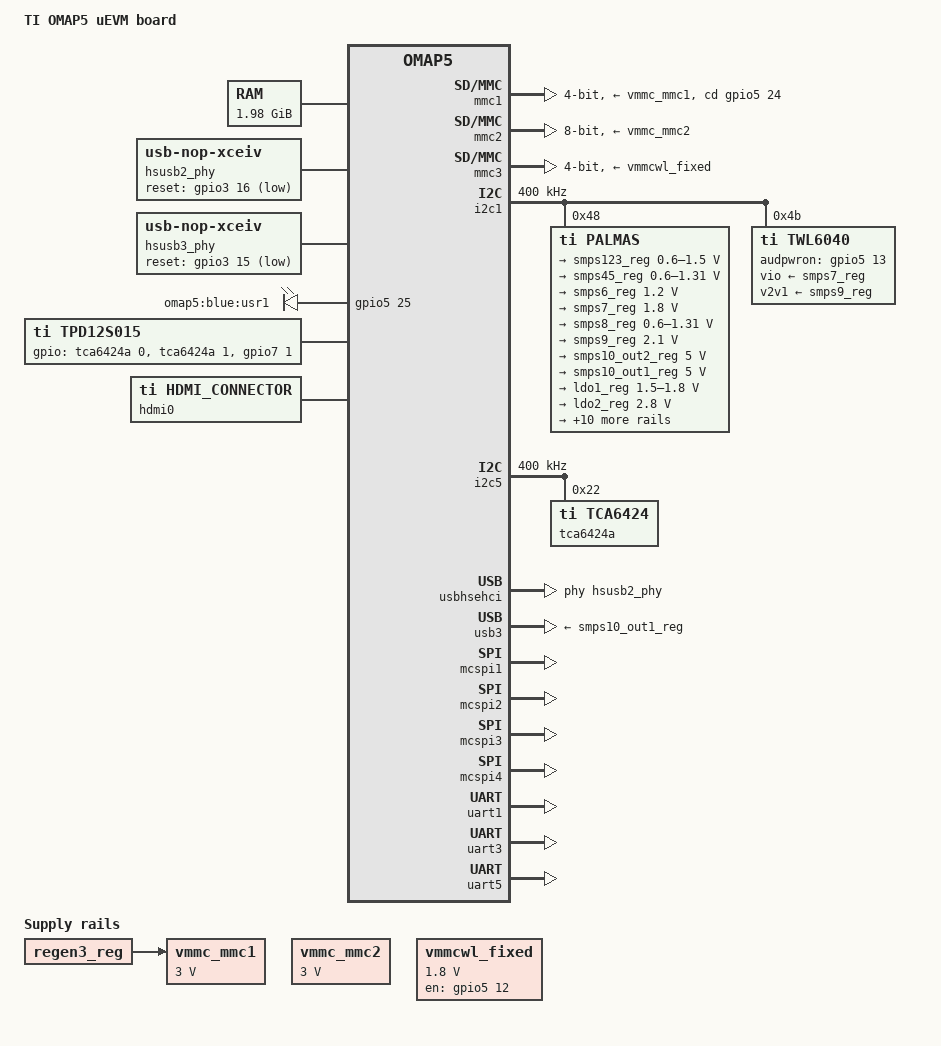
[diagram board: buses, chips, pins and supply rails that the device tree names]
/*
 * Copyright (C) 2013 Texas Instruments Incorporated - http://www.ti.com/
 *
 * This program is free software; you can redistribute it and/or modify
 * it under the terms of the GNU General Public License version 2 as
 * published by the Free Software Foundation.
 */
/dts-v1/;

#include "omap5.dtsi"
#include <dt-bindings/interrupt-controller/irq.h>
#include <dt-bindings/interrupt-controller/arm-gic.h>

/ {
	model = "TI OMAP5 uEVM board";
	compatible = "ti,omap5-uevm", "ti,omap5";

	memory {
		device_type = "memory";
		reg = <0x80000000 0x7F000000>; /* 2032 MB */
	};

	vmmc_mmc1: fixedregulator-mmc1 {
		compatible = "regulator-fixed";
		regulator-name = "vmmc_mmc1";
		regulator-min-microvolt = <3000000>;
		regulator-max-microvolt = <3000000>;
		vin-supply = <&regen3_reg>;
	};

	vmmc_mmc2: fixedregulator-mmc2{
		compatible = "regulator-fixed";
		regulator-name = "vmmc_mmc2";
		regulator-min-microvolt = <3000000>;
		regulator-max-microvolt = <3000000>;
	};

	vmmcwl_fixed: fixedregulator-mmcwl {
		compatible = "regulator-fixed";
		regulator-name = "vmmcwl_fixed";
		regulator-min-microvolt = <1800000>;
		regulator-max-microvolt = <1800000>;
		gpio = <&gpio5 12 0>;	/* gpio5_140 */
		startup-delay-us = <70000>;
		enable-active-high;
	};

	/* HS USB Host PHY on PORT 2 */
	hsusb2_phy: hsusb2_phy {
		compatible = "usb-nop-xceiv";
		reset-gpios = <&gpio3 16 GPIO_ACTIVE_LOW>; /* gpio3_80 HUB_NRESET */
		clocks = <&auxclk1_ck>;
		clock-names = "main_clk";
		clock-frequency = <19200000>;
	};

	/* HS USB Host PHY on PORT 3 */
	hsusb3_phy: hsusb3_phy {
		compatible = "usb-nop-xceiv";
		reset-gpios = <&gpio3 15 GPIO_ACTIVE_LOW>; /* gpio3_79 ETH_NRESET */
	};

	leds {
		compatible = "gpio-leds";
		led@1 {
			label = "omap5:blue:usr1";
			gpios = <&gpio5 25 GPIO_ACTIVE_HIGH>; /* gpio5_153 D1 LED */
			linux,default-trigger = "heartbeat";
			default-state = "off";
		};
	};

	sound: sound {
		compatible = "ti,abe-twl6040";
		ti,model = "omap5-uevm";

		ti,mclk-freq = <19200000>;

		ti,mcpdm = <&mcpdm>;

		ti,twl6040 = <&twl6040>;

		/* Audio routing */
		ti,audio-routing =
			"Headset Stereophone", "HSOL",
			"Headset Stereophone", "HSOR",
			"Line Out", "AUXL",
			"Line Out", "AUXR",
			"HSMIC", "Headset Mic",
			"Headset Mic", "Headset Mic Bias",
			"AFML", "Line In",
			"AFMR", "Line In";
	};

	wlcore {
		compatible = "wlcore";
		gpio = <14>;
	};
};

&omap5_pmx_core {
	pinctrl-names = "default";
	pinctrl-0 = <
			&twl6040_pins
			&mcpdm_pins
			&mcbsp1_pins
			&mcbsp2_pins
			&usbhost_pins
			&led_gpio_pins
			&dss_hdmi_pins
			&tpd12s015_pins
			&palmas_pins
			&wl_pins
	>;

	twl6040_pins: pinmux_twl6040_pins {
		pinctrl-single,pins = <
			0x17e (PIN_OUTPUT | MUX_MODE6)	/* mcspi1_somi.gpio5_141 */
		>;
	};

	mcpdm_pins: pinmux_mcpdm_pins {
		pinctrl-single,pins = <
			0x142 (PIN_INPUT_PULLDOWN | MUX_MODE0)	/* abe_clks.abe_clks */
			0x15c (PIN_INPUT_PULLDOWN | MUX_MODE0)	/* abemcpdm_ul_data.abemcpdm_ul_data */
			0x15e (PIN_INPUT_PULLDOWN | MUX_MODE0)	/* abemcpdm_dl_data.abemcpdm_dl_data */
			0x160 (PIN_INPUT_PULLUP | MUX_MODE0)	/* abemcpdm_frame.abemcpdm_frame */
			0x162 (PIN_INPUT_PULLDOWN | MUX_MODE0)	/* abemcpdm_lb_clk.abemcpdm_lb_clk */
		>;
	};

	mcbsp1_pins: pinmux_mcbsp1_pins {
		pinctrl-single,pins = <
			0x14c (PIN_INPUT | MUX_MODE1)		/* abedmic_clk2.abemcbsp1_fsx */
			0x14e (PIN_OUTPUT_PULLDOWN | MUX_MODE1)	/* abedmic_clk3.abemcbsp1_dx */
			0x150 (PIN_INPUT | MUX_MODE1)		/* abeslimbus1_clock.abemcbsp1_clkx */
			0x152 (PIN_INPUT_PULLDOWN | MUX_MODE1)	/* abeslimbus1_data.abemcbsp1_dr */
		>;
	};

	mcbsp2_pins: pinmux_mcbsp2_pins {
		pinctrl-single,pins = <
			0x154 (PIN_INPUT_PULLDOWN | MUX_MODE0)	/* abemcbsp2_dr.abemcbsp2_dr */
			0x156 (PIN_OUTPUT_PULLDOWN | MUX_MODE0)	/* abemcbsp2_dx.abemcbsp2_dx */
			0x158 (PIN_INPUT | MUX_MODE0)		/* abemcbsp2_fsx.abemcbsp2_fsx */
			0x15a (PIN_INPUT | MUX_MODE0)		/* abemcbsp2_clkx.abemcbsp2_clkx */
		>;
	};

	i2c1_pins: pinmux_i2c1_pins {
		pinctrl-single,pins = <
			0x1b2 (PIN_INPUT_PULLUP | MUX_MODE0)	/* i2c1_scl */
			0x1b4 (PIN_INPUT_PULLUP | MUX_MODE0)	/* i2c1_sda */
		>;
	};

	i2c5_pins: pinmux_i2c5_pins {
		pinctrl-single,pins = <
			0x186 (PIN_INPUT | MUX_MODE0)		/* i2c5_scl */
			0x188 (PIN_INPUT | MUX_MODE0)		/* i2c5_sda */
		>;
	};

	mmc1_pins: pinmux_mmc1_pins {
		pinctrl-single,pins = <
			0x194 (PIN_INPUT | MUX_MODE6)		/* gpio5_152  */
		>;
	};

	mmc1_muxpu: pinmux_mmc1_muxpu {
		pinctrl-single,pins = <
			0x1a2 (PIN_INPUT_PULLUP | MUX_MODE0)		/* sdcard clk */
			0x1a4 (PIN_INPUT_PULLUP | MUX_MODE0)		/* sdcard cmd */
			0x1a6 (PIN_INPUT_PULLUP | MUX_MODE0)		/* sdcard dat2*/
			0x1a8 (PIN_INPUT_PULLUP | MUX_MODE0)		/* sdcard dat3*/
			0x1aa (PIN_INPUT_PULLUP | MUX_MODE0)		/* sdcard dat0*/
			0x1ac (PIN_INPUT_PULLUP | MUX_MODE0)		/* sdcard dat1*/
		>;
	};

	mmc1_muxpd: pinmux_mmc1_muxpd {
		pinctrl-single,pins = <
			0x1a2 (PIN_INPUT_PULLDOWN | MUX_MODE0)		/* sdcard clk */
			0x1a4 (PIN_INPUT_PULLDOWN | MUX_MODE0)		/* sdcard cmd */
			0x1a6 (PIN_INPUT_PULLDOWN | MUX_MODE0)		/* sdcard dat2*/
			0x1a8 (PIN_INPUT_PULLDOWN | MUX_MODE0)		/* sdcard dat3*/
			0x1aa (PIN_INPUT_PULLDOWN | MUX_MODE0)		/* sdcard dat0*/
			0x1ac (PIN_INPUT_PULLDOWN | MUX_MODE0)		/* sdcard dat1*/
		>;
	};

	mcspi2_pins: pinmux_mcspi2_pins {
		pinctrl-single,pins = <
			0xbc (PIN_INPUT | MUX_MODE0)		/*  mcspi2_clk */
			0xbe (PIN_INPUT | MUX_MODE0)		/*  mcspi2_simo */
			0xc0 (PIN_INPUT_PULLUP | MUX_MODE0)	/*  mcspi2_somi */
			0xc2 (PIN_OUTPUT | MUX_MODE0)		/*  mcspi2_cs0 */
		>;
	};

	mcspi3_pins: pinmux_mcspi3_pins {
		pinctrl-single,pins = <
			0x78 (PIN_INPUT | MUX_MODE1)		/*  mcspi3_somi */
			0x7a (PIN_INPUT | MUX_MODE1)		/*  mcspi3_cs0 */
			0x7c (PIN_INPUT | MUX_MODE1)		/*  mcspi3_simo */
			0x7e (PIN_INPUT | MUX_MODE1)		/*  mcspi3_clk */
		>;
	};

	mcspi4_pins: pinmux_mcspi4_pins {
		pinctrl-single,pins = <
			0x164 (PIN_INPUT | MUX_MODE1)		/*  mcspi4_clk */
			0x168 (PIN_INPUT | MUX_MODE1)		/*  mcspi4_simo */
			0x16a (PIN_INPUT | MUX_MODE1)		/*  mcspi4_somi */
			0x16c (PIN_INPUT | MUX_MODE1)		/*  mcspi4_cs0 */
		>;
	};

	usbhost_pins: pinmux_usbhost_pins {
		pinctrl-single,pins = <
			0x84 (PIN_INPUT | MUX_MODE0) /* usbb2_hsic_strobe */
			0x86 (PIN_INPUT | MUX_MODE0) /* usbb2_hsic_data */

			0x19e (PIN_INPUT | MUX_MODE0) /* usbb3_hsic_strobe */
			0x1a0 (PIN_INPUT | MUX_MODE0) /* usbb3_hsic_data */

			0x70 (PIN_OUTPUT | MUX_MODE6) /* gpio3_80 HUB_NRESET */
			0x6e (PIN_OUTPUT | MUX_MODE6) /* gpio3_79 ETH_NRESET */
		>;
	};

	led_gpio_pins: pinmux_led_gpio_pins {
		pinctrl-single,pins = <
			0x196 (PIN_OUTPUT | MUX_MODE6) /* uart3_cts_rctx.gpio5_153 */
		>;
	};

	uart1_pins: pinmux_uart1_pins {
		pinctrl-single,pins = <
			0x60 (PIN_OUTPUT | MUX_MODE0) /* uart1_tx.uart1_cts */
			0x62 (PIN_INPUT_PULLUP | MUX_MODE0) /* uart1_tx.uart1_cts */
			0x64 (PIN_INPUT_PULLUP | MUX_MODE0) /* uart1_rx.uart1_rts */
			0x66 (PIN_OUTPUT | MUX_MODE0) /* uart1_rx.uart1_rts */
		>;
	};

	uart3_pins: pinmux_uart3_pins {
		pinctrl-single,pins = <
			0x19a (PIN_OUTPUT | MUX_MODE0) /* uart3_rts_irsd.uart3_tx_irtx */
			0x19c (PIN_INPUT_PULLUP | MUX_MODE0) /* uart3_rx_irrx.uart3_usbb3_hsic */
		>;
	};

	uart5_pins: pinmux_uart5_pins {
		pinctrl-single,pins = <
			0x170 (PIN_INPUT_PULLUP | MUX_MODE0) /* uart5_rx.uart5_rx */
			0x172 (PIN_OUTPUT | MUX_MODE0) /* uart5_tx.uart5_tx */
			0x174 (PIN_INPUT_PULLUP | MUX_MODE0) /* uart5_cts.uart5_rts */
			0x176 (PIN_OUTPUT | MUX_MODE0) /* uart5_cts.uart5_rts */
		>;
	};

	 dss_hdmi_pins: pinmux_dss_hdmi_pins {
		pinctrl-single,pins = <
			0x0fc (PIN_INPUT_PULLUP | MUX_MODE0)	/* hdmi_cec.hdmi_cec */
			0x100 (PIN_INPUT | MUX_MODE0)	/* DDC-SCL */
			0x102 (PIN_INPUT | MUX_MODE0)	/* DDC-SDA */
                >;
        };

	tpd12s015_pins: pinmux_tpd12s015_pins {
		pinctrl-single,pins = <
			0x0fe (PIN_INPUT_PULLDOWN | MUX_MODE6)	/* hdmi_hpd.gpio7_193 */
		>;
	};

	palmas_pins: pinmux_palmas_pins {
		pinctrl-single,pins = <
			0x140 (PIN_INPUT_PULLUP | MUX_MODE1)	/* MSECURE */
		>;
	};

	wl_pins: pinmux_wl_pins {
		pinctrl-single,pins = <
			0x164 0x118	/* WLSDIO_CLK: INPUTENABLE | PULLUP | MODE0 */
			0x166 0x118	/* WLSDIO_CMD: INPUTENABLE | PULLUP | MODE0 */
			0x168 0x118	/* WLSDIO_DAT0: INPUTENABLE | PULLUP | MODE0 */
			0x16a 0x118	/* WLSDIO_DAT1: INPUTENABLE | PULLUP | MODE0 */
			0x16c 0x118	/* WLSDIO_DAT2: INPUTENABLE | PULLUP | MODE0 */
			0x16e 0x118	/* WLSDIO_DAT3: INPUTENABLE | PULLUP | MODE0 */
			0x17c 0x6	/* WLAN_EN: OUTPUT | MODE6 */
		>;
	};
};

&omap5_pmx_wkup {
	pinctrl-names = "default";
	pinctrl-0 = <
			&usbhost_wkup_pins
			&wlirq_pins
	>;

	usbhost_wkup_pins: pinmux_usbhost_wkup_pins {
		pinctrl-single,pins = <
			0x1A (PIN_OUTPUT | MUX_MODE0) /* fref_clk1_out, USB hub clk */
		>;
	};

	wlirq_pins: pinmux_wlirq_pins {
		pinctrl-single,pins = <
			0x0 0x4106	/* WLAN_IRQ: INPUT | WAKEUP_ENABLE | MODE 6 */
		>;
	};
};

&mmc1 {
	pinctrl-names = "default", "muxpu", "muxpd";
	pinctrl-0 = <&mmc1_pins>;
	pinctrl-1 = <&mmc1_muxpu>;
	pinctrl-2 = <&mmc1_muxpd>;
	vmmc-supply = <&vmmc_mmc1>;
	vmmc_aux-supply = <&ldo9_reg>;
	pbias-supply = <&pbias_regulator>;
	bus-width = <4>;
	cd-gpios = <&gpio5 24 0>; /* gpio 152 */
};

&mmc2 {
	vmmc-supply = <&vmmc_mmc2>;
	bus-width = <8>;
	ti,non-removable;
	cap-mmc-dual-data-rate;
};

&mmc3 {
	vmmc-supply = <&vmmcwl_fixed>;
	bus-width = <4>;
	cap-power-off-card;
	keep-power-in-suspend;
	ti,non-removable;
};

&mmc4 {
	status = "disabled";
};

&mmc5 {
	status = "disabled";
};

&i2c1 {
	status = "okay";
	pinctrl-names = "default";
	pinctrl-0 = <&i2c1_pins>;

	clock-frequency = <400000>;

	palmas: palmas@48 {
		compatible = "ti,palmas";
		interrupts = <GIC_SPI 7 IRQ_TYPE_NONE>; /* IRQ_SYS_1N */
		interrupt-parent = <&gic>;
		reg = <0x48>;
		interrupt-controller;
		#interrupt-cells = <2>;

		extcon_usb3: palmas_usb {
			compatible = "ti,palmas-usb-vid";
			ti,enable-vbus-detection;
			ti,enable-id-detection;
			ti,wakeup;
		};

		palmas_rtc: rtc {
			compatible = "ti,palmas-rtc";
			interrupt-parent = <&palmas>;
			interrupts = <8 IRQ_TYPE_NONE>;
			ti,backup-battery-chargeable;
		};

		clk32kg: palmas_clk32k@0 {
			compatible = "ti,palmas-clk32kg";
			#clock-cells = <0>;
		};

		clk32kgaudio: palmas_clk32k@1 {
			compatible = "ti,palmas-clk32kgaudio";
			#clock-cells = <0>;
		};

		palmas_pmic {
			compatible = "ti,palmas-pmic";
			interrupt-parent = <&palmas>;
			interrupts = <14 IRQ_TYPE_NONE>;
			interrupt-name = "short-irq";

			ti,ldo6-vibrator;

			regulators {
				smps123_reg: smps123 {
					/* VDD_OPP_MPU */
					regulator-name = "smps123";
					regulator-min-microvolt = < 600000>;
					regulator-max-microvolt = <1500000>;
					regulator-always-on;
					regulator-boot-on;
				};

				smps45_reg: smps45 {
					/* VDD_OPP_MM */
					regulator-name = "smps45";
					regulator-min-microvolt = < 600000>;
					regulator-max-microvolt = <1310000>;
					regulator-always-on;
					regulator-boot-on;
				};

				smps6_reg: smps6 {
					/* VDD_DDR3 - over VDD_SMPS6 */
					regulator-name = "smps6";
					regulator-min-microvolt = <1200000>;
					regulator-max-microvolt = <1200000>;
					regulator-always-on;
					regulator-boot-on;
				};

				smps7_reg: smps7 {
					/* VDDS_1v8_OMAP over VDDS_1v8_MAIN */
					regulator-name = "smps7";
					regulator-min-microvolt = <1800000>;
					regulator-max-microvolt = <1800000>;
					regulator-always-on;
					regulator-boot-on;
				};

				smps8_reg: smps8 {
					/* VDD_OPP_CORE */
					regulator-name = "smps8";
					regulator-min-microvolt = < 600000>;
					regulator-max-microvolt = <1310000>;
					regulator-always-on;
					regulator-boot-on;
				};

				smps9_reg: smps9 {
					/* VDDA_2v1_AUD over VDD_2v1 */
					regulator-name = "smps9";
					regulator-min-microvolt = <2100000>;
					regulator-max-microvolt = <2100000>;
					ti,smps-range = <0x80>;
				};

				smps10_out2_reg: smps10_out2 {
					/* VBUS_5V_OTG */
					regulator-name = "smps10_out2";
					regulator-min-microvolt = <5000000>;
					regulator-max-microvolt = <5000000>;
					regulator-always-on;
					regulator-boot-on;
				};

				smps10_out1_reg: smps10_out1 {
					/* VBUS_5V_OTG */
					regulator-name = "smps10_out1";
					regulator-min-microvolt = <5000000>;
					regulator-max-microvolt = <5000000>;
				};

				ldo1_reg: ldo1 {
					/* VDDAPHY_CAM: vdda_csiport */
					regulator-name = "ldo1";
					regulator-min-microvolt = <1500000>;
					regulator-max-microvolt = <1800000>;
				};

				ldo2_reg: ldo2 {
					/* VCC_2V8_DISP: Does not go anywhere */
					regulator-name = "ldo2";
					regulator-min-microvolt = <2800000>;
					regulator-max-microvolt = <2800000>;
					/* Unused */
					status = "disabled";
				};

				ldo3_reg: ldo3 {
					/* VDDAPHY_MDM: vdda_lli */
					regulator-name = "ldo3";
					regulator-min-microvolt = <1500000>;
					regulator-max-microvolt = <1500000>;
					regulator-boot-on;
					/* Only if Modem is used */
					status = "disabled";
				};

				ldo4_reg: ldo4 {
					/* VDDAPHY_DISP: vdda_dsiport/hdmi */
					regulator-name = "ldo4";
					regulator-min-microvolt = <1500000>;
					regulator-max-microvolt = <1800000>;
				};

				ldo5_reg: ldo5 {
					/* VDDA_1V8_PHY: usb/sata/hdmi.. */
					regulator-name = "ldo5";
					regulator-min-microvolt = <1800000>;
					regulator-max-microvolt = <1800000>;
					regulator-always-on;
					regulator-boot-on;
				};

				ldo6_reg: ldo6 {
					/* VDDS_1V2_WKUP: hsic/ldo_emu_wkup */
					regulator-name = "ldo6";
					regulator-min-microvolt = <1200000>;
					regulator-max-microvolt = <1200000>;
					regulator-always-on;
					regulator-boot-on;
				};

				ldo7_reg: ldo7 {
					/* VDD_VPP: vpp1 */
					regulator-name = "ldo7";
					regulator-min-microvolt = <2000000>;
					regulator-max-microvolt = <2000000>;
					/* Only for efuse reprograming! */
					status = "disabled";
				};

				ldo8_reg: ldo8 {
					/* VDD_3v0: Does not go anywhere */
					regulator-name = "ldo8";
					regulator-min-microvolt = <3000000>;
					regulator-max-microvolt = <3000000>;
					regulator-boot-on;
					/* Unused */
					status = "disabled";
				};

				ldo9_reg: ldo9 {
					/* VCC_DV_SDIO: vdds_sdcard */
					regulator-name = "ldo9";
					regulator-min-microvolt = <1800000>;
					regulator-max-microvolt = <3000000>;
					regulator-boot-on;
				};

				ldoln_reg: ldoln {
					/* VDDA_1v8_REF: vdds_osc/mm_l4per.. */
					regulator-name = "ldoln";
					regulator-min-microvolt = <1800000>;
					regulator-max-microvolt = <1800000>;
					regulator-always-on;
					regulator-boot-on;
				};

				ldousb_reg: ldousb {
					/* VDDA_3V_USB: VDDA_USBHS33 */
					regulator-name = "ldousb";
					regulator-min-microvolt = <3250000>;
					regulator-max-microvolt = <3250000>;
					regulator-always-on;
					regulator-boot-on;
				};

				regen3_reg: regen3 {
					/* REGEN3 controls LDO9 supply to card */
					regulator-name = "regen3";
					regulator-boot-on;
				};
			};
		};
	};

	twl6040: twl@4b {
		compatible = "ti,twl6040";
		reg = <0x4b>;

		interrupts = <GIC_SPI 119 IRQ_TYPE_NONE>; /* IRQ_SYS_2N cascaded to gic */
		interrupt-parent = <&gic>;
		ti,audpwron-gpio = <&gpio5 13 0>;  /* gpio line 141 */

		vio-supply = <&smps7_reg>;
		v2v1-supply = <&smps9_reg>;
		enable-active-high;

		clocks = <&clk32kgaudio>;
		clock-names = "clk32k";
	};
};

&i2c5 {
	status = "okay";
	pinctrl-names = "default";
	pinctrl-0 = <&i2c5_pins>;

	clock-frequency = <400000>;

	tca6424a: tca6424a@22 {
		compatible = "ti,tca6424";
		reg = <0x22>;
		gpio-controller;
		#gpio-cells = <2>;
	};
};

&mcbsp3 {
	status = "disabled";
};

&usbhshost {
	port2-mode = "ehci-hsic";
	port3-mode = "ehci-hsic";
};

&usbhsehci {
	phys = <0 &hsusb2_phy &hsusb3_phy>;
};

&usb3 {
	extcon = <&extcon_usb3>;
	vbus-supply = <&smps10_out1_reg>;
};

&mcspi1 {
	status = "okay";
};

&mcspi2 {
	status = "okay";
	pinctrl-names = "default";
	pinctrl-0 = <&mcspi2_pins>;
};

&mcspi3 {
	status = "okay";
	pinctrl-names = "default";
	pinctrl-0 = <&mcspi3_pins>;
};

&mcspi4 {
	status = "okay";
	pinctrl-names = "default";
	pinctrl-0 = <&mcspi4_pins>;
};

&uart1 {
	status = "okay";
        pinctrl-names = "default";
        pinctrl-0 = <&uart1_pins>;
};

&uart3 {
	status = "okay";
        pinctrl-names = "default";
        pinctrl-0 = <&uart3_pins>;
};

&uart5 {
	status = "okay";
        pinctrl-names = "default";
        pinctrl-0 = <&uart5_pins>;
};

&hdmi {
	vdda_hdmi_dac-supply = <&ldo4_reg>;
};

&dsi1 {
	vdds_dsi-supply = <&ldo4_reg>;
};

&dsi2 {
	vdds_dsi-supply = <&ldo4_reg>;
};

&cpu0 {
	cpu0-supply = <&smps123_reg>;
};

/ {
	aliases {
		display0 = &hdmi0;
		ethernet0 = &smsc0;
	};

	tpd12s015: encoder@0 {
		compatible = "ti,tpd12s015";

		video-source = <&hdmi>;

		gpios = <&tca6424a 0 0>,	/* TCA6424A P01, CT CP HPD */
			<&tca6424a 1 0>,	/* TCA6424A P00, LS OE */
			<&gpio7 1 0>;		/* GPIO 193, HPD */
	};

	hdmi0: connector@0 {
		compatible = "ti,hdmi_connector";

		video-source = <&tpd12s015>;
	};

	smsc0: smsc95xx@0 {
		/* Filled in by U-Boot */
		mac-address = [ 00 00 00 00 00 00 ];
	};
};
